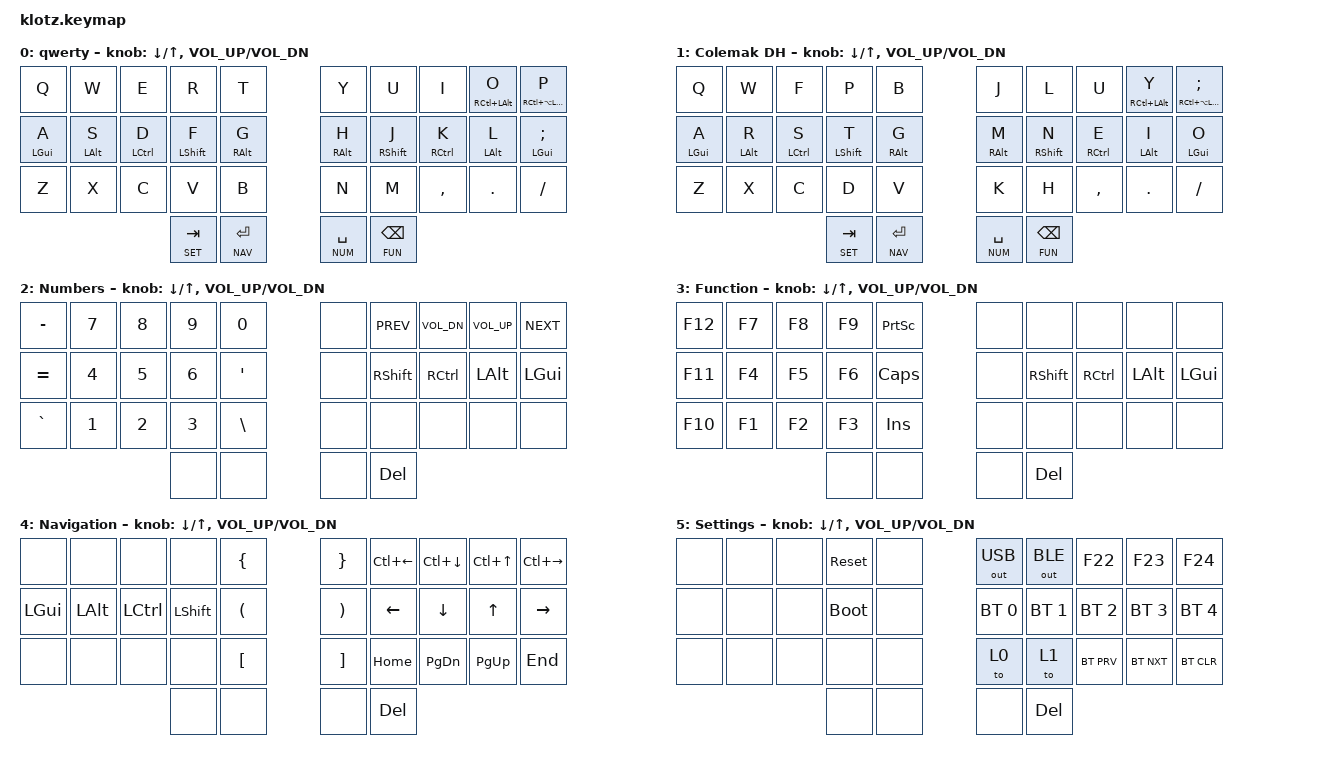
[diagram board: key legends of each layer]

//              █         ██        ▄▀▀▀▀▀▀▀▀▀▀█▀▀▀▀▀▀▀▀█▀▀▀▀▀▀▀▀▀▀█
//              █        █ █      ▄▀            ▀▄      █         █
//              █       █  █    ▄▀                ▀▄    █        █
//              █      █   █   █                    █   █       █
//              █     █    █   █                    █   █      █
//              █    █     █   █                    █   █  ▀▀▀█▀▀▀▀
//              █   █ █    █   █                    █   █    █
//              █  █   █   █   █                    █   █   █
//              █ █     █  █    ▀▄                ▄▀    █  █
//              ██       █ █      ▀▄            ▄▀      █ █
//              █         ██▄▄▄▄▄▄▄▄█▄▄▄▄▄▄▄▄▄▄▀        ██▄▄▄▄▄▄▄▄▄▄
//
//▄▄▄▄▄▄▄▄▄▄▄▄▄▄▄▄▄▄▄▄▄▄▄▄▄▄▄▄▄▄▄▄▄▄▄▄▄▄▄▄▄▄▄▄▄▄▄▄▄▄▄▄▄▄▄▄▄▄▄▄▄▄▄▄▄▄▄▄▄▄▄▄▄▄▄▄▄▄▄
//
//

/* ╭────┬────┬────┬────┬────╮ ⌄ ⌁⌁⌁⌁ ⌄ ╭────┬────┬────┬────┬────╮
   │  0 │  1 │  2 │  3 │  4 │ │        │ │  5 │  6 │  7 │  8 │  9 │
   ├────┼────┼────┼────┼────┼─╯        ╰─┼────┼────┼────┼────┼────┤
   │ 10 │ 11 │ 12 │ 13 │ 14 │╭───╮  ╭───╮│ 15 │ 16 │ 17 │ 18 │ 19 │
   ├────┼────┼────┼────┼────┤│ROT│  │ROT│├────┼────┼────┼────┼────┤
   │ 20 │ 21 │ 22 │ 23 │ 24 │╰───╯  ╰───╯│ 25 │ 26 │ 27 │ 28 │ 29 │
   ╰────┴────┴─────────┼────┼────╮  ╭────┼────┼────┼────┴────┴────╯
                       │ 30 │ 31 │  │ 32 │ 33 │
                       ╰────┴────╯  ╰────┴────╯ */
                       
#include <behaviors.dtsi>
#include <dt-bindings/zmk/keys.h>
#include <dt-bindings/zmk/bt.h>
#include <dt-bindings/zmk/outputs.h>
#include <dt-bindings/zmk/backlight.h>

#define NAV_L 1
#define NUM_L 2
#define MED_L 3
#define FUN_L 4

#define QWR 0
#define COL 1
#define NUM 2
#define FUN 3
#define NAV 4
#define SET 5

&lt {
	quick_tap_ms = <200>;
};

&caps_word {
	continue-list = <UNDERSCORE MINUS BSPC LSHFT RSHFT>;
};

/ {
	combos {
		compatible = "zmk,combos";
		combo_esc {
			timeout-ms = <20>;
			key-positions = <11 12>;
			bindings = <&kp ESC>;
			layers = <QWR COL>;
		};
		combo_tab {
			timeout-ms = <20>;
			key-positions = <12 13>;
			bindings = <&kp TAB>;
			layers = <QWR COL>;
		};
		combo_del {
			timeout-ms = <20>;
			key-positions = <15 16>;
			bindings = <&kp DEL>;
			layers = <QWR COL>;
		};
		combo_bspc {
			timeout-ms = <20>;
			key-positions = <16 17>;
			bindings = <&kp BSPC>;
			layers = <QWR COL>;
		};
		combo_enter {
			timeout-ms = <20>;
			key-positions = <17 18>;
			bindings = <&kp RET>;
			layers = <QWR COL>;
		};
		combo_ae {
			timeout-ms = <20>;
			key-positions = <0 10>;
			bindings = <&kp RA(Q)>;
			layers = <QWR COL>;
		};
		combo_oe {
			timeout-ms = <20>;
			key-positions = <8 18>;
			bindings = <&kp RA(P)>;
			layers = <QWR COL>;
		};
		combo_ue {
			timeout-ms = <20>;
			key-positions = <6 16>;
			bindings = <&kp RA(Y)>;
			layers = <QWR COL>;
		};
		combo_ss {
			timeout-ms = <20>;
			key-positions = <1 11>;
			bindings = <&kp RA(S)>;
			layers = <QWR COL>;
		};
		combo_caps-word {
			timeout-ms = <20>;
			key-positions = <13 16>;
			bindings = <&caps_word>;
			layers = <QWR COL>;
		};
	};

	behaviors {
		hl: homerow_mods_left {
			compatible = "zmk,behavior-hold-tap";
			label = "homerow mods left";
			#binding-cells = <2>;
			flavor = "tap-preferred";
			tapping-term-ms = <200>;
			quick-tap-ms = <100>;
			bindings = <&kp>, <&kp>;
			// opposite side hand keys
			hold-trigger-key-positions = <5 6 7 8 9 15 16 17 18 19 25 26 27 28 29>;
		};

		hr: homerow_mods_right {
			compatible = "zmk,behavior-hold-tap";
			label = "homerow mods right";
			#binding-cells = <2>;
			flavor = "tap-preferred";
			tapping-term-ms = <200>;
			quick-tap-ms = <100>;
			bindings = <&kp>, <&kp>;
			// opposite side hand keys
			hold-trigger-key-positions = <0 1 2 3 4 10 11 12 13 14 20 21 22 23 24>;
		};

		hs: homerow_mods_shift {
			compatible = "zmk,behavior-hold-tap";
			label = "homerow mods shift";
			#binding-cells = <2>;
			flavor = "balanced";
			tapping-term-ms = <200>;
			quick-tap-ms = <100>;
			bindings = <&kp>, <&kp>;
		};
	};
	
	keymap {
		compatible = "zmk,keymap";

		default_layer {
			label = "qwerty";
			bindings = <
			&kp Q		&kp W		&kp E		&kp R		&kp T			&kp Y		&kp U		&kp I		&hs RC(LALT) O		&hs RC(LA(LGUI)) P
			&hl LGUI A	&hl LALT S	&hl LCTRL D	&hs LSHFT F	&hl RALT G		&hr RALT H	&hs RSHFT J	&hr RCTRL K	&hr LALT L	&hr LGUI SEMI
			&kp Z		&kp X		&kp C		&kp V		&kp B	    	&kp N		&kp M		&kp COMMA	&kp DOT		&kp FSLH
												&lt SET TAB	&lt NAV RET		&lt NUM SPACE	&lt FUN BSPC
			>;
			sensor-bindings = <&inc_dec_kp DOWN UP &inc_dec_kp C_VOL_UP C_VOL_DN>;
		};

		colemak_layer {
			label = "Colemak DH";
			bindings = <
			&kp Q		&kp W		&kp F		&kp P		&kp B			&kp J		&kp L		&kp U		&hs RC(LALT) Y		&hs RC(LA(LGUI)) SEMI
			&hl LGUI A	&hl LALT R	&hl LCTRL S	&hs LSHFT T	&hl RALT G		&hr RALT M	&hs RSHFT N	&hr RCTRL E	&hr LALT I	&hr LGUI O
			&kp Z		&kp X		&kp C		&kp D		&kp V			&kp K		&kp H		&kp COMMA	&kp DOT		&kp FSLH
												&lt SET TAB	&lt NAV RET		&lt NUM SPACE	&lt FUN BSPC
			>;
			sensor-bindings = <&inc_dec_kp DOWN UP &inc_dec_kp C_VOL_UP C_VOL_DN>;
		};

		numbers_layer {
			label = "Numbers";
			bindings = <
			&kp MINUS	&kp N7		&kp N8		&kp N9		&kp N0			&none		&kp C_PREV	&kp C_VOL_DN	&kp C_VOL_UP	&kp C_NEXT
			&kp EQUAL	&kp N4		&kp N5		&kp N6		&kp SQT			&none		&kp RSHFT	&kp RCTRL	&kp LALT	&kp LGUI
			&kp GRAVE	&kp N1		&kp N2		&kp N3		&kp BSLH		&none		&none		&none		&none		&none
												&none		&none			&none		&kp DEL
			>;
			sensor-bindings = <&inc_dec_kp DOWN UP &inc_dec_kp C_VOL_UP C_VOL_DN>;
		};
		
		functions_layer {
			label = "Function";
			bindings = <
			&kp F12		&kp F7		&kp F8		&kp F9		&kp PSCRN		&none		&none		&none		&none		&none
			&kp F11		&kp F4		&kp F5		&kp F6		&kp CAPS		&none		&kp RSHFT	&kp RCTRL	&kp LALT	&kp LGUI
			&kp F10		&kp F1		&kp F2		&kp F3		&kp INS			&none		&none		&none		&none		&none
												&none		&none			&none		&kp DEL
			>;
			sensor-bindings = <&inc_dec_kp DOWN UP &inc_dec_kp C_VOL_UP C_VOL_DN>;
		};

		navigation_layer {
			label = "Navigation";
			bindings = <
			&none		&none		&none		&none		&kp	LBRC		&kp	RBRC	&kp LC(LEFT)	&kp LC(DOWN)	&kp LC(UP)	&kp LC(RIGHT)
			&kp LGUI	&kp LALT	&kp LCTRL	&kp LSHFT	&kp LPAR		&kp RPAR	&kp LEFT		&kp DOWN		&kp UP		&kp RIGHT
			&none		&none		&none		&none		&kp LBKT		&kp RBKT	&kp HOME		&kp PG_DN		&kp PG_UP	&kp END
												&none		&none			&none		&kp DEL
			>;
			sensor-bindings = <&inc_dec_kp DOWN UP &inc_dec_kp C_VOL_UP C_VOL_DN>;
		};

		settings_layer {
			label = "Settings";
			bindings = <
			&none		&none		&none		&sys_reset	&none			&out OUT_USB	&out OUT_BLE	&kp F22			&kp F23			&kp F24
			&none		&none		&none		&bootloader	&none			&bt BT_SEL 0	&bt BT_SEL 1	&bt BT_SEL 2	&bt BT_SEL 3	&bt BT_SEL 4
			&none		&none		&none		&none		&none			&to 0			&to 1			&bt BT_PRV		&bt BT_NXT		&bt BT_CLR
												&none		&none			&none		&kp DEL
			>;
			sensor-bindings = <&inc_dec_kp DOWN UP &inc_dec_kp C_VOL_UP C_VOL_DN>;
		};
	};
};
